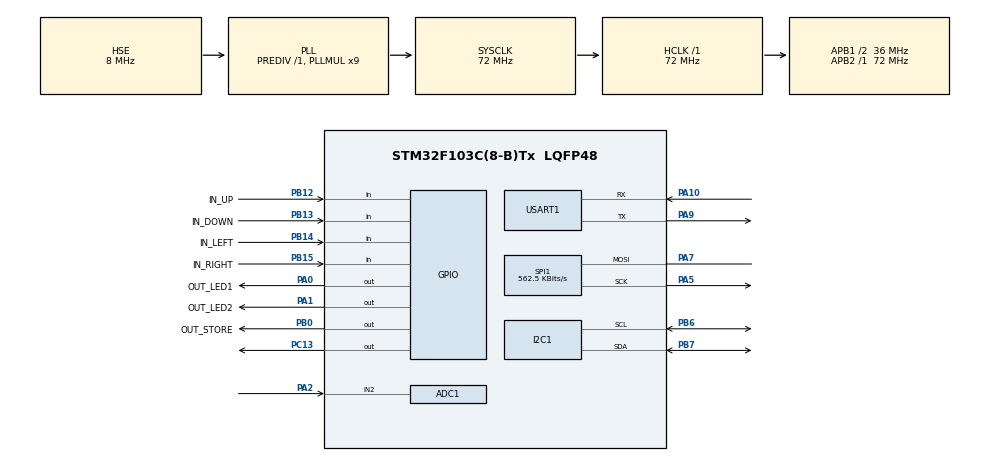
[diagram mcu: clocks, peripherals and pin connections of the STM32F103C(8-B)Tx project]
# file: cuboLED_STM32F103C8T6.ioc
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ADC1.Channel-0\#ChannelRegularConversion=ADC_CHANNEL_2
ADC1.NbrOfConversionFlag=1
ADC1.Rank-0\#ChannelRegularConversion=1
ADC1.SamplingTime-0\#ChannelRegularConversion=ADC_SAMPLETIME_1CYCLE_5
ADC1.master=1
Mcu.Family=STM32F1
Mcu.Name=STM32F103C(8-B)Tx
Mcu.Package=LQFP48
NVIC.PriorityGroup=NVIC_PRIORITYGROUP_4
NVIC.TIM2_IRQn=true\:0\:0\:false\:false\:true\:true\:true
NVIC.TIM3_IRQn=true\:0\:0\:false\:false\:true\:true\:true
NVIC.USART1_IRQn=true\:0\:0\:false\:false\:true\:true\:true
PA0-WKUP.GPIO_Label=OUT_LED1
PA0-WKUP.Signal=GPIO_Output
PA1.GPIO_Label=OUT_LED2
PA1.Signal=GPIO_Output
PA10.Mode=Asynchronous
PA10.Signal=USART1_RX
PA13.Mode=Serial_Wire
PA13.Signal=SYS_JTMS-SWDIO
PA14.Mode=Serial_Wire
PA14.Signal=SYS_JTCK-SWCLK
PA2.Signal=ADCx_IN2
PA5.Mode=Simplex_Bidirectional_Master
PA5.Signal=SPI1_SCK
PA7.Mode=Simplex_Bidirectional_Master
PA7.Signal=SPI1_MOSI
PA9.Mode=Asynchronous
PA9.Signal=USART1_TX
PB0.GPIO_Label=OUT_STORE
PB0.Signal=GPIO_Output
PB12.GPIO_Label=IN_UP
PB12.GPIO_PuPd=GPIO_PULLUP
PB12.Signal=GPIO_Input
PB13.GPIO_Label=IN_DOWN
PB13.GPIO_PuPd=GPIO_PULLUP
PB13.Signal=GPIO_Input
PB14.GPIO_Label=IN_LEFT
PB14.GPIO_PuPd=GPIO_PULLUP
PB14.Signal=GPIO_Input
PB15.GPIO_Label=IN_RIGHT
PB15.GPIO_PuPd=GPIO_PULLUP
PB15.Signal=GPIO_Input
PB6.Mode=I2C
PB6.Signal=I2C1_SCL
PB7.Mode=I2C
PB7.Signal=I2C1_SDA
PC13-TAMPER-RTC.Signal=GPIO_Output
PD0-OSC_IN.Mode=HSE-External-Oscillator
PD0-OSC_IN.Signal=RCC_OSC_IN
PD1-OSC_OUT.Mode=HSE-External-Oscillator
PD1-OSC_OUT.Signal=RCC_OSC_OUT
ProjectManager.HeapSize=0x200
ProjectManager.StackSize=0x400
ProjectManager.TargetToolchain=STM32CubeIDE
RCC.ADCPresc=RCC_ADCPCLK2_DIV6
RCC.AHBFreq_Value=72000000
RCC.APB1CLKDivider=RCC_HCLK_DIV2
RCC.APB1Freq_Value=36000000
RCC.APB1TimFreq_Value=72000000
RCC.APB2Freq_Value=72000000
RCC.APB2TimFreq_Value=72000000
RCC.HCLKFreq_Value=72000000
RCC.PLLMUL=RCC_PLL_MUL9
RCC.PLLSourceVirtual=RCC_PLLSOURCE_HSE
RCC.SYSCLKFreq_VALUE=72000000
RCC.SYSCLKSource=RCC_SYSCLKSOURCE_PLLCLK
RCC.USBFreq_Value=72000000
SH.ADCx_IN2.0=ADC1_IN2,IN2
SPI1.BaudRatePrescaler=SPI_BAUDRATEPRESCALER_128
SPI1.CalculateBaudRate=562.5 KBits/s
SPI1.Direction=SPI_DIRECTION_1LINE
SPI1.Mode=SPI_MODE_MASTER
SPI1.VirtualType=VM_MASTER
TIM2.Period=1000-1
TIM2.Prescaler=225-1
TIM3.Period=1000-1
TIM3.Prescaler=720-1
USART1.VirtualMode=VM_ASYNC
VP_TIM2_VS_ClockSourceINT.Mode=Internal
VP_TIM3_VS_ClockSourceINT.Mode=Internal
board=custom

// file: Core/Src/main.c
/* USER CODE BEGIN Header */
/**
  ******************************************************************************
  * @file           : main.c
  * @brief          : Main program body
  ******************************************************************************
  * @attention
  *
  * <h2><center>&copy; Copyright (c) 2022 STMicroelectronics.
  * All rights reserved.</center></h2>
  *
  * This software component is licensed by ST under BSD 3-Clause license,
  * the "License"; You may not use this file except in compliance with the
  * License. You may obtain a copy of the License at:
  *                        opensource.org/licenses/BSD-3-Clause
  *
  ******************************************************************************
  */
/* USER CODE END Header */
#include "main.h"
#include "adc.h"
#include "i2c.h"
#include "spi.h"
#include "tim.h"
#include "usart.h"
#include "gpio.h"

/* USER CODE BEGIN Includes */
#include "stdlib.h"
#include "74_HC595_SPI_lfs.h"
#include "botones_lfs.h"
#include "menu_cubo.h"
#include "blockOut.h"
/* USER CODE END Includes */

/* USER CODE BEGIN PTD */
typedef enum{
	POS_X = 0,
	NEG_X,
	POS_Z,
	NEG_Z,
	POS_Y,
	NEG_Y,
}T_POS;

typedef enum{
	NULL_EFECT = 0,
	RAIN,
	PLANE_BOING,
	SEND_VOXELS,
	WOOP_WOOP,
	CUBE_JUMP,
	FIREWORKS,
	GLOW,
	BLOCKOUT,
	DEMO,
	TEXT,
	LIT,
	TOTAL_EFFECTS,
}T_EFFECT;

typedef enum{
	NEW_FW,
	RISING_ROCKET,
	EXPLODING,
	FALLING,
}T_FW_STATUS;

typedef struct{
	int8_t partX;
	int8_t partY;
	int8_t partZ;
	int8_t velX;
	int8_t velY;
	int8_t velZ;
	int8_t acelZ;
	uint8_t resting;
} T_FW_PARTICLE;

/* USER CODE END PTD */

/* USER CODE BEGIN PD */
#define XAXIS 0
#define YAXIS 1
#define ZAXIS 2

//#define RAIN_TIME 0x8FFC
//#define PLANE_BOING_TIME 0x8FFC
//#define SEND_VOXELS_TIME 0x8FFC
//#define WOOP_WOOP_TIME 0x8FFC
//#define CUBE_JUMP_TIME 0x7FFF
//#define GLOW_TIME 0x8FFC
//#define TEXT_TIME 0x8FFC
//#define CLOCK_TIME 0x8FFC
//#define FIREWORK_TIME 0x5FFC
#define PERIODO_DEMO 800
#define PERIODO_DEMO_TEXT 1200
/* USER CODE END PD */

/* USER CODE BEGIN PV */

//variables tiempo
uint16_t RAIN_TIME = 0x4FFC;
uint16_t PLANE_BOING_TIME = 0x37FF;
uint16_t SEND_VOXELS_TIME = 0x27FF;
uint16_t WOOP_WOOP_TIME = 0x4FFC;
uint16_t CUBE_JUMP_TIME = 0x370F;
uint16_t FIREWORK_TIME = 0x38EF;
uint16_t GLOW_TIME = 0x0800;
uint16_t TEXT_TIME = 0x4FFC;
uint16_t CLOCK_TIME = 0x8FFC;
uint16_t STEP_TIME = 0X800;

//caracteres
//uint8_t characters[10][8] = {
//  {0x3C, 0x42, 0x42, 0x42, 0x42, 0x42, 0x42, 0x3C}, //0
//  {0x10, 0x18, 0x14, 0x10, 0x10, 0x10, 0x10, 0x3C}, //1
//  {0x3C, 0x42, 0x40, 0x40, 0x3C, 0x02, 0x02, 0x7E}, //2
//  {0x3C, 0x40, 0x40, 0x3C, 0x40, 0x40, 0x42, 0x3C}, //3
//  {0x22, 0x22, 0x22, 0x22, 0x7E, 0x20, 0x20, 0x20}, //4
//  {0x7E, 0x02, 0x02, 0x3E, 0x40, 0x40, 0x42, 0x3C}, //5
//  {0x3C, 0x02, 0x02, 0x3E, 0x42, 0x42, 0x42, 0x3C}, //6
//  {0x3C, 0x40, 0x40, 0x40, 0x40, 0x40, 0x40, 0x40}, //7
//  {0x3C, 0x42, 0x42, 0x3C, 0x42, 0x42, 0x42, 0x3C}, //8
//  {0x3C, 0x42, 0x42, 0x42, 0x3C, 0x40, 0x40, 0x3C}, //9
//};

uint8_t characters[21][8] = {
  {0x3C, 0x42, 0x42, 0x42, 0x42, 0x42, 0x42, 0x3C}, //0
  {0x10, 0x18, 0x14, 0x10, 0x10, 0x10, 0x10, 0x3C}, //1
  {0x3C, 0x42, 0x40, 0x40, 0x3C, 0x02, 0x02, 0x7E}, //2
  {0x3C, 0x40, 0x40, 0x3C, 0x40, 0x40, 0x42, 0x3C}, //3
  {0x22, 0x22, 0x22, 0x22, 0x7E, 0x20, 0x20, 0x20}, //4
  {0x7E, 0x02, 0x02, 0x3E, 0x40, 0x40, 0x42, 0x3C}, //5
  {0x3C, 0x02, 0x02, 0x3E, 0x42, 0x42, 0x42, 0x3C}, //6
  {0x3C, 0x40, 0x40, 0x40, 0x40, 0x40, 0x40, 0x40}, //7
  {0x3C, 0x42, 0x42, 0x3C, 0x42, 0x42, 0x42, 0x3C}, //8
  {0x3C, 0x42, 0x42, 0x42, 0x3C, 0x40, 0x40, 0x3C}, //9
  {0x3C, 0x42, 0x42, 0x42, 0x7E, 0x42, 0x42, 0x42}, //A (pos 10)
  {0x3C, 0x02, 0x02, 0x02, 0x02, 0x02, 0x02, 0x3C}, //C	(pos 11)
  {0x0E, 0x12, 0x22, 0x42, 0x42, 0x22, 0x12, 0x0E}, //D (pos 12)
  {0x3C, 0x04, 0x04, 0x1C, 0x04, 0x04, 0x04, 0x3C}, //E (pos 13)
  {0x7C, 0x02, 0x02, 0x02, 0x72, 0x42, 0x42, 0x7C}, //G (pos 14)
  {0x82, 0xC6, 0xAA, 0x92, 0x82, 0x82, 0x82, 0x82}, //M (pos 15)
  {0x18, 0x42, 0x46, 0x4A, 0x4A, 0x52, 0x52, 0x62}, //ENIE [char N] (pos 16)
  {0x0E, 0x12, 0x22, 0x22, 0x1E, 0x0A, 0x12, 0x22}, //R (pos 17)
  {0x3C, 0x42, 0x02, 0x0C, 0x30, 0x40, 0x42, 0x3C}, //S (pos 18)
  {0x42, 0x42, 0x22, 0x22, 0x24, 0x14, 0x14, 0x08}, //V (pos 19)
  {0x44, 0x66, 0x55, 0x44, 0x44, 0x44, 0x44, 0x44}, //11 (pos 20)
};

//variables cubo
uint8_t cube[8][8];
uint8_t cube_vector[9];
uint8_t cube_level = 0;
T_EFFECT currentEffect = FIREWORKS;

uint8_t flag_nextLevel = 0;

uint16_t timer;

uint64_t randomTimer;
uint16_t randomSeed;

uint8_t loading;

//variables controles
uint8_t flag_tim3; //cada 10 ms.
uint8_t antiRebote = 1;
uint16_t periodo_blockOut = 300; // * 10 ms.

//variables aurt
uint8_t rxChar;
uint8_t flag_uart = 0;

//variables blockOut (externas)
extern char entradaJoystick;
extern uint8_t flag_timeoutCaer;
extern T_ESTATUS_JUEGO estatus_juego;

//variables planeBoing()
uint8_t planePosition = 0;
uint8_t planeDirection = 0;
uint8_t looped = 0;

//variables sendVoxels()
uint8_t selX = 0;
uint8_t selY = 0;
uint8_t selZ = 0;
uint8_t sendDirection = 0;
uint8_t sending = 0;

//variables woopWoop()
uint8_t cubeSize = 0;
uint8_t cubeExpanding = 1;

//variables cubeJump()
uint8_t xPos;
uint8_t yPos;
uint8_t zPos;

//variables glow()
uint8_t glowing;
uint16_t glowCount = 0;

//variables text()
uint8_t charCounter = 0;
uint8_t charPosition = 0;
uint8_t charSelection = 0;

//variables fireWork()
uint8_t exploded;
T_FW_STATUS statusFireWork = NEW_FW;
uint8_t rocketX = 0;
uint8_t rocketY = 0;
uint8_t rocketZ = 0;
uint8_t numParticles;
T_FW_PARTICLE particle[40];
uint8_t deadParticles = 0;
uint8_t explocionCicle = 2;

//variables demo()
uint16_t periodo_demo;
//T_EFFECT index_demo = GLOW;
uint8_t flag_demo = 0;

/* USER CODE END PV */

void SystemClock_Config(void);
/* USER CODE BEGIN PFP */
void renderCube (void);

void clearCube(void);
void drawCube(uint8_t, uint8_t, uint8_t, uint8_t);
void shift(uint8_t);
void setVoxel(uint8_t, uint8_t, uint8_t);
uint8_t getVoxel(uint8_t, uint8_t, uint8_t);
void clearVoxel(uint8_t, uint8_t, uint8_t);
void setPlane(uint8_t, uint8_t);
void rain(void);
void planeBoing(void);
void sendVoxels(void);
void woopWoop(void);
void cubeJump(void);
void fireWork(void);
void glow(void);
void text(char[], uint8_t);
//void demo(void);
void lit(void);
void lightCube(void);
/* USER CODE END PFP */

int main(void)
{

  /* MCU Configuration--------------------------------------------------------*/

  /* Reset of all peripherals, Initializes the Flash interface and the Systick. */
  HAL_Init();

  /* Configure the system clock */
  SystemClock_Config();

  /* Initialize all configured peripherals */
  MX_GPIO_Init();
  MX_I2C1_Init();
  MX_SPI1_Init();
  MX_USART1_UART_Init();
  MX_ADC1_Init();
  MX_TIM2_Init();
  MX_TIM3_Init();
  /* USER CODE BEGIN 2 */
  spi_74HC595_init(&hspi1, OUT_STORE_GPIO_Port, OUT_STORE_Pin);

  loading = 1;
  randomTimer = 0;
//  currentEffect = RAIN;

  HAL_ADC_Start(&hadc1);
  HAL_Delay(100);
  randomSeed = (uint16_t) HAL_ADC_GetValue(&hadc1);
  srand(randomSeed);
  HAL_ADC_Stop(&hadc1);
  HAL_GPIO_WritePin(OUT_LED1_GPIO_Port, OUT_LED1_Pin, 0); //led verde: on
  HAL_GPIO_WritePin(OUT_LED2_GPIO_Port, OUT_LED2_Pin, 1); //led rojo: off
  HAL_GPIO_WritePin(GPIOC, GPIO_PIN_13, 1);

  HAL_TIM_Base_Start_IT(&htim2); // frecuencia de refresco
  HAL_TIM_Base_Start_IT(&htim3); // sincronizmo (10 * ms)

  HAL_UART_Receive_IT(&huart1, &rxChar, 1);

  currentEffect = rand() % TOTAL_EFFECTS;
  switch (currentEffect) {
	  case BLOCKOUT:
		  currentEffect = FIREWORKS;
	  break;
	  case DEMO:
		  currentEffect = CUBE_JUMP;
	  break;
	  case TEXT:
		  currentEffect = PLANE_BOING;
	  break;
	  case LIT:
		  currentEffect = RAIN;
	  break;
	  default:
	  break;
  } //end switch currentEffect

//  start_menu();
  /* USER CODE END 2 */

  /* Infinite loop */
  /* USER CODE BEGIN WHILE */
  while (1)
  {
	  update_teclas();
//	  check_menu();

	  if (flag_tim3 != 0){
		  if (antiRebote != 0){ //para leer cada 20 ms.
			  antiRebote--;
		  }else{
			  lecturaTeclas();

			  antiRebote = 1;
		  } //end if antiRebote

		  if (flag_uart != 0){
			  entradaJoystick = (char)rxChar;
			  flag_uart = 0;
			  HAL_UART_Receive_IT(&huart1, &rxChar, 1);
		  } //end if flag_uart

		  if (periodo_blockOut != 0){
			  periodo_blockOut--;
		  }else{
			  periodo_blockOut = 150;
			  flag_timeoutCaer = 1;
		  } //end if periodo_blockout

		  if (periodo_demo != 0){
			  periodo_demo--;
		  } //end if periodo_demo

		  flag_tim3 = 0;
	  } //end if flag_tim3

	  randomTimer++;

	  if (flag_demo != 0){
		  if (!periodo_demo){

			  clearCube();
			  loading = 1;
			  timer = 0;
			  currentEffect++;
			  if (currentEffect >= TOTAL_EFFECTS) {
				  currentEffect = RAIN;
			  }

			  switch (currentEffect) {
				  case RAIN:
					  periodo_demo = PERIODO_DEMO;
				  break;
				  case PLANE_BOING:
					  periodo_demo = PERIODO_DEMO;
				  break;
				  case SEND_VOXELS:
					  periodo_demo = PERIODO_DEMO;
				  break;
				  case WOOP_WOOP:
					  periodo_demo = PERIODO_DEMO;
				  break;
				  case CUBE_JUMP:
					  periodo_demo = PERIODO_DEMO;
				  break;
				  case FIREWORKS:
					  periodo_demo = PERIODO_DEMO;
				  break;
				  case GLOW:
					  periodo_demo = PERIODO_DEMO;
				  break;
				  case BLOCKOUT:
				  case DEMO:
					  currentEffect = TEXT;
					  periodo_demo = PERIODO_DEMO_TEXT;
				  break;
				  case TEXT:
					  periodo_demo = PERIODO_DEMO_TEXT;
				  break;
				  case LIT:
					  currentEffect = RAIN;
					  periodo_demo = PERIODO_DEMO;
				  break;
				  default:
				  break;
			  } //end switch currentEffect
		  } //end if !periodo_demo
	  } //end if flag_demo

	  if (currentEffect != BLOCKOUT){
		  if (entradaJoystick == '4'){
			  clearCube();
			  currentEffect = BLOCKOUT;
			  entradaJoystick = 0;
			  flag_demo = 0;
		  }
	  }

	  if (getStatBoton(IN_UP) == FALL){ //DOWN
		  clearCube();
		  loading = 1;
		  timer = 0;
		  currentEffect--;
		  if (currentEffect == NULL_EFECT) {
			  currentEffect = TOTAL_EFFECTS - 1;
		  }

		  srand(randomTimer);
		  randomTimer = 0;
		  if (flag_demo != 0){
			  clearCube();
			  currentEffect = BLOCKOUT;
			  entradaJoystick = 0;
			  flag_demo = 0;
		  }

//		  HAL_GPIO_WritePin(OUT_LED1_GPIO_Port, OUT_LED1_Pin, 1); //led verde: off
//		  HAL_GPIO_WritePin(OUT_LED2_GPIO_Port, OUT_LED2_Pin, 0); //led rojo: on
//		  HAL_Delay(500);
//		  HAL_GPIO_WritePin(OUT_LED1_GPIO_Port, OUT_LED1_Pin, 0); //led verde: on
//		  HAL_GPIO_WritePin(OUT_LED2_GPIO_Port, OUT_LED2_Pin, 1); //led rojo: off

		  switch (currentEffect) {
			  case RAIN: break;
			  case PLANE_BOING: break;
			  case SEND_VOXELS: break;
			  case WOOP_WOOP: break;
			  case CUBE_JUMP: break;
			  case FIREWORKS: break;
			  case GLOW: break;
			  case BLOCKOUT:
				  estatus_juego = JUEGO_IDLE;
			  break;
			  case DEMO: break;
			  case TEXT:
				  currentEffect = DEMO;
			  break;
			  case LIT: break;
			  default: break;
		  } //end switch currentEffect

	  } //end if getStatBoton...

	  if (getStatBoton(IN_DOWN) == FALL){ //UP
		  clearCube();
		  loading = 1;
		  timer = 0;
		  currentEffect++;
		  if (currentEffect >= TOTAL_EFFECTS) {
			  currentEffect = RAIN;
		  }
		  srand(randomTimer);
		  randomTimer = 0;
		  if (flag_demo != 0){
			  currentEffect = LIT;
			  flag_demo = 0;
		  }

//		  HAL_GPIO_WritePin(OUT_LED1_GPIO_Port, OUT_LED1_Pin, 1); //led verde: off
//		  HAL_GPIO_WritePin(OUT_LED2_GPIO_Port, OUT_LED2_Pin, 0); //led rojo: on
//		  HAL_Delay(500);
//		  HAL_GPIO_WritePin(OUT_LED1_GPIO_Port, OUT_LED1_Pin, 0); //led verde: on
//		  HAL_GPIO_WritePin(OUT_LED2_GPIO_Port, OUT_LED2_Pin, 1); //led rojo: off

		  switch (currentEffect) {
			  case RAIN: break;
			  case PLANE_BOING: break;
			  case SEND_VOXELS: break;
			  case WOOP_WOOP: break;
			  case CUBE_JUMP: break;
			  case FIREWORKS: break;
			  case GLOW: break;
			  case BLOCKOUT:
				  estatus_juego = JUEGO_IDLE;
			  break;
			  case DEMO: break;
			  case TEXT: break;
			  case LIT: break;
			  default: break;
		  } //end switch currentEffect

	  } //end if getStatBoton...

	  if (getStatBoton(IN_LEFT) == FALL){ //UP
		  switch (currentEffect) {
			  case RAIN:
				  if (RAIN_TIME < (0xFFFE - STEP_TIME)){
					  RAIN_TIME += STEP_TIME;
				  }else{
					  RAIN_TIME = 0xFFFF;
				  }
				  break;
			  case PLANE_BOING:
				  if (PLANE_BOING_TIME < (0xFFFE - STEP_TIME)){
					  PLANE_BOING_TIME += STEP_TIME;
				  }else{
					  PLANE_BOING_TIME = 0xFFFF;
				  }
				  break;
			  case SEND_VOXELS:
				  if (SEND_VOXELS_TIME < (0xFFFE - STEP_TIME)){
					  SEND_VOXELS_TIME += STEP_TIME;
				  }else{
					  SEND_VOXELS_TIME= 0xFFFF;
				  }
				  break;
			  case WOOP_WOOP:
				  if (WOOP_WOOP_TIME < (0xFFFE - STEP_TIME)){
					  WOOP_WOOP_TIME+= STEP_TIME;
				  }else{
					  WOOP_WOOP_TIME= 0xFFFF;
				  }
				  break;
			  case CUBE_JUMP:
				  if (RAIN_TIME < (0xFFFE - STEP_TIME)){
					  CUBE_JUMP_TIME += STEP_TIME;
				  }else{
					  CUBE_JUMP_TIME = 0xFFFF;
				  }
				  break;
			  case FIREWORKS:
				  if (FIREWORK_TIME < (0xFFFE - STEP_TIME)){
					  FIREWORK_TIME += STEP_TIME;
				  }else{
					  FIREWORK_TIME = 0xFFFF;
				  }
				  break;
			  case GLOW:
				  if (GLOW_TIME < (0xFFFE - STEP_TIME)){
					  GLOW_TIME+= STEP_TIME;
				  }else{
					  GLOW_TIME = 0xFFFF;
				  }
				  break;
			  case TEXT:
				  if (TEXT_TIME < (0xFFFE - STEP_TIME)){
					  TEXT_TIME+= STEP_TIME;
				  }else{
					  TEXT_TIME= 0xFFFF;
				  }
				  break;
			  default:
				  break;
		  } //end switch currentEffect
	  }//end if getStatBoton...

	  if (getStatBoton(IN_RIGHT) == FALL){ //UP
		  switch (currentEffect) {
			  case RAIN:
				  if (RAIN_TIME > STEP_TIME + 0X1){
					  RAIN_TIME -= STEP_TIME;
				  }else{
					  RAIN_TIME = STEP_TIME;
				  }
				  break;
			  case PLANE_BOING:
				  if (PLANE_BOING_TIME > STEP_TIME + 0X1){
					  PLANE_BOING_TIME -= STEP_TIME;
				  }else{
					  PLANE_BOING_TIME = STEP_TIME;
				  }
				  break;
			  case SEND_VOXELS:
				  if (SEND_VOXELS_TIME > STEP_TIME + 0X1){
					  SEND_VOXELS_TIME -= STEP_TIME;
				  }else{
					  SEND_VOXELS_TIME= STEP_TIME;
				  }
				  break;
			  case WOOP_WOOP:
				  if (WOOP_WOOP_TIME > STEP_TIME + 0X1){
					  WOOP_WOOP_TIME-= STEP_TIME;
				  }else{
					  WOOP_WOOP_TIME= STEP_TIME;
				  }
				  break;
			  case CUBE_JUMP:
				  if (RAIN_TIME > STEP_TIME + 0X1){
					  CUBE_JUMP_TIME -= STEP_TIME;
				  }else{
					  CUBE_JUMP_TIME = STEP_TIME;
				  }
				  break;
			  case FIREWORKS:
				  if (FIREWORK_TIME > STEP_TIME + 0X1){
					  FIREWORK_TIME -= STEP_TIME;
				  }else{
					  FIREWORK_TIME = STEP_TIME;
				  }
				  break;
			  case GLOW:
				  if (GLOW_TIME > STEP_TIME + 0X1){
					  GLOW_TIME-= STEP_TIME;
				  }else{
					  GLOW_TIME = STEP_TIME;
				  }
				  break;
			  case TEXT:
				  if (TEXT_TIME > STEP_TIME + 0X1){
					  TEXT_TIME-= STEP_TIME;
				  }else{
					  TEXT_TIME= STEP_TIME;
				  }
				  break;
			  default:
				  break;
		  } //end switch currentEffect
	  }//end if getStatBoton...

	  switch (currentEffect) {
		  case RAIN: rain(); break;
		  case PLANE_BOING: planeBoing(); break;
		  case SEND_VOXELS: sendVoxels(); break;
		  case WOOP_WOOP: woopWoop(); break;
		  case CUBE_JUMP: cubeJump(); break;
		  case FIREWORKS: fireWork(); break;
		  case GLOW: glow(); break;
		  case DEMO: //demo();
			  flag_demo = 1;
			  periodo_demo = PERIODO_DEMO_TEXT;
			  currentEffect = TEXT;
		  break;
		  case BLOCKOUT: runBlockOut(); break;
		  case TEXT: text("DEMO", 4); break;
		  case LIT: lit(); break;
		  default:
			  currentEffect = CUBE_JUMP;
			  cubeJump();
		  break;
	  } //end switch currentEffect

//	  drawCube(0, 0, 0, 8);
//	  fireWork();
//	  testBlockOut();
//	  lightCube();
//	  runBlockOut();
//	  demo();

	  if (flag_nextLevel != 0){
		  renderCube();
		  flag_nextLevel = 0;
	  }

    /* USER CODE END WHILE */

  }
}

void SystemClock_Config(void)
{
  RCC_OscInitTypeDef RCC_OscInitStruct = {0};
  RCC_ClkInitTypeDef RCC_ClkInitStruct = {0};
  RCC_PeriphCLKInitTypeDef PeriphClkInit = {0};

  /** Initializes the RCC Oscillators according to the specified parameters
  * in the RCC_OscInitTypeDef structure.
  */
  RCC_OscInitStruct.OscillatorType = RCC_OSCILLATORTYPE_HSE;
  RCC_OscInitStruct.HSEState = RCC_HSE_ON;
  RCC_OscInitStruct.HSEPredivValue = RCC_HSE_PREDIV_DIV1;
  RCC_OscInitStruct.HSIState = RCC_HSI_ON;
  RCC_OscInitStruct.PLL.PLLState = RCC_PLL_ON;
  RCC_OscInitStruct.PLL.PLLSource = RCC_PLLSOURCE_HSE;
  RCC_OscInitStruct.PLL.PLLMUL = RCC_PLL_MUL9;
  if (HAL_RCC_OscConfig(&RCC_OscInitStruct) != HAL_OK)
  {
    Error_Handler();
  }
  /** Initializes the CPU, AHB and APB buses clocks
  */
  RCC_ClkInitStruct.ClockType = RCC_CLOCKTYPE_HCLK|RCC_CLOCKTYPE_SYSCLK
                              |RCC_CLOCKTYPE_PCLK1|RCC_CLOCKTYPE_PCLK2;
  RCC_ClkInitStruct.SYSCLKSource = RCC_SYSCLKSOURCE_PLLCLK;
  RCC_ClkInitStruct.AHBCLKDivider = RCC_SYSCLK_DIV1;
  RCC_ClkInitStruct.APB1CLKDivider = RCC_HCLK_DIV2;
  RCC_ClkInitStruct.APB2CLKDivider = RCC_HCLK_DIV1;

  if (HAL_RCC_ClockConfig(&RCC_ClkInitStruct, FLASH_LATENCY_2) != HAL_OK)
  {
    Error_Handler();
  }
  PeriphClkInit.PeriphClockSelection = RCC_PERIPHCLK_ADC;
  PeriphClkInit.AdcClockSelection = RCC_ADCPCLK2_DIV6;
  if (HAL_RCCEx_PeriphCLKConfig(&PeriphClkInit) != HAL_OK)
  {
    Error_Handler();
  }
}

/* USER CODE BEGIN 4 */

void renderCube (void) {
 /* for (uint8_t i = 0; i < 8; i++) {
    digitalWrite(SS, LOW);
    SPI.transfer(0x01 << i);
    for (uint8_t j = 0; j < 8; j++) {
      SPI.transfer(cube[i][j]);
    }
    digitalWrite(SS, HIGH);
  }*/

	cube_vector[0] = (uint8_t) (0x01 << cube_level);

	for (uint8_t j = 0; j < 8; j++) {
		cube_vector[j+1] = cube[cube_level][j];
	} //end for j

	spi_74HC595_Transmit(cube_vector, sizeof(cube_vector));
	cube_level++;
	if (cube_level == 8){
		cube_level = 0;
	}
	__NOP();

} //end renderCube()

void rain (void) {
  if (loading != 0) {
    clearCube();
    loading = 0;
  }
  timer++;
  if (timer > RAIN_TIME) {
    timer = 0;
    shift(NEG_Y);
    uint8_t numDrops = rand() % 5;
    for (uint8_t i = 0; i < numDrops; i++) {
      setVoxel(rand() % 8, 7, rand() % 8);
    }
  }
} //end rain()

void planeBoing (void) {
  if (loading) {
    clearCube();
    uint8_t axis = rand() % 3;
    planePosition = (rand() % 2) * 7;
    setPlane(axis, planePosition);
    if (axis == XAXIS) {
      if (planePosition == 0) {
        planeDirection = POS_X;
      } else {
        planeDirection = NEG_X;
      }
    } else if (axis == YAXIS) {
      if (planePosition == 0) {
        planeDirection = POS_Y;
      } else {
        planeDirection = NEG_Y;
      }
    } else if (axis == ZAXIS) {
      if (planePosition == 0) {
        planeDirection = POS_Z;
      } else {
        planeDirection = NEG_Z;
      }
    }
    timer = 0;
    looped = 0;
    loading = 0;
  }

  timer++;
  if (timer > PLANE_BOING_TIME) {
    timer = 0;
    shift(planeDirection);
    if (planeDirection % 2 == 0) {
      planePosition++;
      if (planePosition == 7) {
        if (looped != 0) {
          loading = 1;
        } else {
          planeDirection++;
          looped = 1;
        }
      }
    } else {
      planePosition--;
      if (planePosition == 0) {
        if (looped != 0) {
          loading = 1;
        } else {
          planeDirection--;
          looped = 1;
        }
      }
    }
  }
} //end planeBoing()

void sendVoxels() {
  if (loading != 0) {
    clearCube();
    for (uint8_t x = 0; x < 8; x++) {
      for (uint8_t z = 0; z < 8; z++) {
        setVoxel(x, (rand() % 2) * 7, z);
      }
    }
    loading = 0;
  }

  timer++;
  if (timer > SEND_VOXELS_TIME) {
    timer = 0;
    if (!sending) {
      selX = rand() % 8;
      selZ = rand() % 8;
      if (getVoxel(selX, 0, selZ)) {
        selY = 0;
        sendDirection = POS_Y;
      } else if (getVoxel(selX, 7, selZ)) {
        selY = 7;
        sendDirection = NEG_Y;
      }
      sending = 1;
    } else {
      if (sendDirection == POS_Y) {
        selY++;
        setVoxel(selX, selY, selZ);
        clearVoxel(selX, selY - 1, selZ);
        if (selY == 7) {
          sending = 0;
        }
      } else {
        selY--;
        setVoxel(selX, selY, selZ);
        clearVoxel(selX, selY + 1, selZ);
        if (selY == 0) {
          sending = 0;
        }
      }
    }
  }
} //end sendVoxels()

void woopWoop() {
  if (loading) {
    clearCube();
    cubeSize = 2;
    cubeExpanding = 1;
    loading = 0;
  }

  timer++;
  if (timer > WOOP_WOOP_TIME) {
    timer = 0;
    if (cubeExpanding) {
      cubeSize += 2;
      if (cubeSize == 8) {
        cubeExpanding = 0;
      }
    } else {
      cubeSize -= 2;
      if (cubeSize == 2) {
        cubeExpanding = 1;
      }
    }
    clearCube();
    drawCube(4 - cubeSize / 2, 4 - cubeSize / 2, 4 - cubeSize / 2, cubeSize);
  }
} //end woopWoop()

void glow() {
  if (loading) {
    clearCube();
    glowCount = 0;
    glowing = 1;
    loading = 0;
  }

  timer++;
  if (timer > GLOW_TIME) {
    timer = 0;
    if (glowing) {
      if (glowCount < 448) {
        do {
        	selX = rand() % 8;
        	selY = rand() % 8;
        	selZ = rand() % 8;
        } while (getVoxel(selX, selY, selZ));
        setVoxel(selX, selY, selZ);
        glowCount++;
      } else if (glowCount < 512) {
        lightCube();
        glowCount++;
      } else {
        glowing = 0;
        glowCount = 0;
      }
    } else {
      if (glowCount < 448) {
        do {
          selX = rand() % 8;
          selY = rand() % 8;
          selZ = rand() % 8;
        } while (!getVoxel(selX, selY, selZ));
        clearVoxel(selX, selY, selZ);
        glowCount++;
      } else {
        clearCube();
        glowing = 1;
        glowCount = 0;
      }
    }
  }
} //end glow()

void text(char string[], uint8_t len) {
	if (loading) {
		clearCube();
		charPosition = -1;
		charCounter = 0;
		loading = 0;
	}
	timer++;
	if (timer > TEXT_TIME) {
		timer = 0;

		shift(NEG_Z);
		charPosition++;

		if (charPosition == 7) {
			charCounter++;
			if (charCounter > len - 1) {
				charCounter = 0;
			}
			charPosition = 0;
		}

		if (charPosition == 0) {

			//charSelection = string[charCounter] - '0';
			switch(string[charCounter]){
				case 'A':
					for (uint8_t i = 0; i < 8; i++) {
						cube[i][0] = characters[10][i];
					} //end for
				break;
				case 'C':
					for (uint8_t i = 0; i < 8; i++) {
						cube[i][0] = characters[11][i];
					} //end for
				break;
				case 'D':
					for (uint8_t i = 0; i < 8; i++) {
						cube[i][0] = characters[12][i];
					} //end for
				break;
				case 'E':
					for (uint8_t i = 0; i < 8; i++) {
						cube[i][0] = characters[13][i];
					} //end for
				break;
				case 'G':
					for (uint8_t i = 0; i < 8; i++) {
						cube[i][0] = characters[14][i];
					} //end for
				break;
				case 'M':
					for (uint8_t i = 0; i < 8; i++) {
						cube[i][0] = characters[15][i];
					} //end for
				break;
				case 'N': //ENIE
					for (uint8_t i = 0; i < 8; i++) {
						cube[i][0] = characters[16][i];
					} //end for
				break;
				case 'R':
					for (uint8_t i = 0; i < 8; i++) {
						cube[i][0] = characters[17][i];
					} //end for
				break;
				case 'S':
					for (uint8_t i = 0; i < 8; i++) {
						cube[i][0] = characters[18][i];
					} //end for
				break;
				case 'V':
					for (uint8_t i = 0; i < 8; i++) {
						cube[i][0] = characters[19][i];
					} //end for
				break;
				case 'O':
				case '0':
					for (uint8_t i = 0; i < 8; i++) {
						cube[i][0] = characters[0][i];
					} //end for
				break;
				case '1':
				case '2':
				case '3':
				case '4':
				case '5':
				case '6':
				case '7':
				case '8':
				case '9':
					for (uint8_t i = 0; i < 8; i++) {
						cube[i][0] = characters[string[charCounter] - '0'][i];
					} //end for
				default:
				break;
			} //end switch
		} //end if charPosition
	}
} //end text()

void fireWork (void){

	if (loading != 0) {
	    clearCube();
	    loading = 0;
	}

	timer++;
	if (timer > FIREWORK_TIME){

		timer = 0;
		clearCube();

		switch (statusFireWork){
			case NEW_FW:
				rocketX = 2 + (rand() % 4); //between 2 and 5.
				rocketY = 2 + (rand() % 4); //between 2 and 5.
				rocketZ = 0;
				setVoxel(rocketX, rocketZ, rocketY);
				statusFireWork = RISING_ROCKET;
			break;
			case RISING_ROCKET:
				rocketZ++;
				if (rocketZ > 4){
					statusFireWork = EXPLODING;
//					statusFireWork = NEW_FW;
					deadParticles = 0;
					explocionCicle = 0;
					numParticles = (30 + (rand() % 10) ); //num of particles between 30 and 40.
					for(uint8_t i = 0 ; i < numParticles; i++){
						particle[i].partX = rocketX;
						particle[i].partY = rocketY;
						particle[i].partZ = rocketZ;
						particle[i].velX = -2 + (rand() % 5);
						particle[i].velY = -2 + (rand() % 5);
						particle[i].velZ = -1 + (rand() % 3);
						particle[i].resting = 0;
					}
				}
				setVoxel(rocketX, rocketZ, rocketY);
			break;
			case EXPLODING:
				explocionCicle++;
				for(uint8_t i = 0 ; i < numParticles; i++){
					particle[i].partX += particle[i].velX;
					particle[i].partY += particle[i].velY;
					particle[i].partZ += particle[i].velZ;

					if(particle[i].partX < (rocketX - explocionCicle)) particle[i].partX = (rocketX - explocionCicle);
					if(particle[i].partY < (rocketY - explocionCicle)) particle[i].partY = (rocketY - explocionCicle);
					if(particle[i].partZ < (rocketZ - explocionCicle)) particle[i].partZ = (rocketZ - explocionCicle);

					if(particle[i].partX > (rocketX + explocionCicle)) particle[i].partX = (rocketX + explocionCicle);
					if(particle[i].partY > (rocketY + explocionCicle)) particle[i].partY = (rocketY + explocionCicle);
					if(particle[i].partZ > (rocketZ + explocionCicle)) particle[i].partZ = (rocketZ + explocionCicle);

					particle[i].velX = -2 + (rand() % 5);
					particle[i].velY = -2 + (rand() % 5);
					particle[i].velZ = rand() % 2;

					if(particle[i].partZ >= 0){
						if(particle[i].partZ < 8)
							setVoxel(particle[i].partX, particle[i].partZ, particle[i].partY);
					}else{
						deadParticles++;
					}
				}

				if (explocionCicle == 3){
					statusFireWork = FALLING;
				}

			break;
			case FALLING:
				for(uint8_t i = 0 ; i < numParticles; i++){
//					particle[i].velZ--;

//					particle[i].velX--;
//					particle[i].velY--;
//					particle[i].velZ--;

					particle[i].partX += particle[i].velX;
					particle[i].partY += particle[i].velY;
					particle[i].partZ += particle[i].velZ;

					particle[i].velX = 0;
					particle[i].velY = 0;
//					particle[i].velZ = 0;
					if (particle[i].velZ > -1) particle[i].velZ--;

					if(particle[i].partX < 0) particle[i].partX = 0;
					if(particle[i].partY < 0) particle[i].partY = 0;
//					if(particle[i].partZ < 0) particle[i].partZ = 0;
					if(particle[i].partX > 7) particle[i].partX = 7;
					if(particle[i].partY > 7) particle[i].partY = 7;
//					if(particle[i].partZ > 7) particle[i].partZ = 7;

					if(particle[i].partZ >= 0){
						if(particle[i].partZ < 8)
							setVoxel(particle[i].partX, particle[i].partZ, particle[i].partY);
					}else{

						if (particle[i].resting < 6){
							setVoxel(particle[i].partX, 0, particle[i].partY);
							particle[i].resting++;
						}else{
							deadParticles++;
						}
					}

				} //end for i

				if (deadParticles >= numParticles)
					statusFireWork = NEW_FW;
			break;
			default:
			break;
		} //end switch (statusFireWork)
	} //end if (timer > FIREWORK_TIME)
} //end fireWork ()

void lit() {
  if (loading) {
    clearCube();
    for(uint8_t i=0; i<8; i++) {
      for(uint8_t j=0; j<8; j++) {
        cube[i][j] = 0xFF;
      }
    }
    loading = 0;
  }
} //end lit()

void cubeJump() {
  if (loading) {
    clearCube();
    xPos = (rand() % 2) * 7;
    yPos = (rand() % 2) * 7;
    zPos = (rand() % 2) * 7;
    cubeSize = 8;
    cubeExpanding = 0;
    loading = 0;
  }

  timer++;
  if (timer > CUBE_JUMP_TIME) {
    timer = 0;
    clearCube();
    if (xPos == 0 && yPos == 0 && zPos == 0) {
      drawCube(xPos, yPos, zPos, cubeSize);
    } else if (xPos == 7 && yPos == 7 && zPos == 7) {
      drawCube(xPos + 1 - cubeSize, yPos + 1 - cubeSize, zPos + 1 - cubeSize, cubeSize);
    } else if (xPos == 7 && yPos == 0 && zPos == 0) {
      drawCube(xPos + 1 - cubeSize, yPos, zPos, cubeSize);
    } else if (xPos == 0 && yPos == 7 && zPos == 0) {
      drawCube(xPos, yPos + 1 - cubeSize, zPos, cubeSize);
    } else if (xPos == 0 && yPos == 0 && zPos == 7) {
      drawCube(xPos, yPos, zPos + 1 - cubeSize, cubeSize);
    } else if (xPos == 7 && yPos == 7 && zPos == 0) {
      drawCube(xPos + 1 - cubeSize, yPos + 1 - cubeSize, zPos, cubeSize);
    } else if (xPos == 0 && yPos == 7 && zPos == 7) {
      drawCube(xPos, yPos + 1 - cubeSize, zPos + 1 - cubeSize, cubeSize);
    } else if (xPos == 7 && yPos == 0 && zPos == 7) {
      drawCube(xPos + 1 - cubeSize, yPos, zPos + 1 - cubeSize, cubeSize);
    }
    if (cubeExpanding) {
      cubeSize++;
      if (cubeSize == 8) {
        cubeExpanding = 0;
        xPos = (rand() % 2) * 7;
        yPos = (rand() % 2) * 7;
        zPos = (rand() % 2) * 7;
      }
    } else {
      cubeSize--;
      if (cubeSize == 1) {
        cubeExpanding = 1;
      }
    }
  }
} //end cubeJump()

//void demo(void){
//	if (!periodo_demo){
//		switch (index_demo) {
////			case RAIN: index_demo = PLANE_BOING; break;
//			case RAIN: index_demo = SEND_VOXELS; break;
//			case PLANE_BOING: index_demo = SEND_VOXELS; break;
////			case PLANE_BOING: index_demo = WOOP_WOOP; break;
//			case SEND_VOXELS: index_demo = WOOP_WOOP; break;
//			case WOOP_WOOP: index_demo = CUBE_JUMP; break;
//			case CUBE_JUMP: index_demo = FIREWORKS; break;
//			case FIREWORKS: index_demo = GLOW; break;
//			case GLOW: index_demo = TEXT; break;
//			case TEXT: index_demo = RAIN; break;
//			default: index_demo = TEXT;
//		}
//
//		clearCube();
//		loading = 1;
//		timer = 0;
//		srand(randomTimer);
//		randomTimer = 0;
//
//		periodo_demo = 1400;
//	} //end if !periodo_demo
//
//	switch (index_demo) {
//		case RAIN: rain(); break;
//		case PLANE_BOING: planeBoing(); break;
//		case SEND_VOXELS: sendVoxels(); break;
//		case WOOP_WOOP: woopWoop(); break;
//		case CUBE_JUMP: cubeJump(); break;
//		case FIREWORKS: fireWork(); break;
//		case GLOW: glow(); break;
//		case TEXT: text("DEMO", 4); break;
//		default: break;
//	} //end switch index_demo
//
//} //end demo()

void setVoxel(uint8_t x, uint8_t y, uint8_t z) {
  cube[7 - y][7 - z] |= (0x01 << x);
}

void clearVoxel(uint8_t x, uint8_t y, uint8_t z) {
  cube[7 - y][7 - z] ^= (0x01 << x);
}

uint8_t getVoxel(uint8_t x, uint8_t y, uint8_t z) {
  return (cube[7 - y][7 - z] & (0x01 << x)) == (0x01 << x);
}

void setPlane(uint8_t axis, uint8_t i) {
  for (uint8_t j = 0; j < 8; j++) {
    for (uint8_t k = 0; k < 8; k++) {
      if (axis == XAXIS) {
        setVoxel(i, j, k);
      } else if (axis == YAXIS) {
        setVoxel(j, i, k);
      } else if (axis == ZAXIS) {
        setVoxel(j, k, i);
      }
    }
  }
}

void shift(uint8_t dir) {

  switch (dir){
	  case POS_X:
		for (uint8_t y = 0; y < 8; y++) {
			for (uint8_t z = 0; z < 8; z++) {
				cube[y][z] = cube[y][z] << 1;
			}
		}
	  break;
	  case NEG_X:
		for (uint8_t y = 0; y < 8; y++) {
		  for (uint8_t z = 0; z < 8; z++) {
			cube[y][z] = cube[y][z] >> 1;
		  }
		}
	  break;
	  case POS_Y:
		for (uint8_t y = 1; y < 8; y++) {
		  for (uint8_t z = 0; z < 8; z++) {
			cube[y - 1][z] = cube[y][z];
		  }
		}
		for (uint8_t i = 0; i < 8; i++) {
		  cube[7][i] = 0;
		}
	  break;
	  case NEG_Y:
		for (uint8_t y = 7; y > 0; y--) {
		  for (uint8_t z = 0; z < 8; z++) {
			cube[y][z] = cube[y - 1][z];
		  }
		}
		for (uint8_t i = 0; i < 8; i++) {
		  cube[0][i] = 0;
		}
	  break;
	  case POS_Z:
		for (uint8_t y = 0; y < 8; y++) {
		  for (uint8_t z = 1; z < 8; z++) {
			cube[y][z - 1] = cube[y][z];
		  }
		}
		for (uint8_t i = 0; i < 8; i++) {
		  cube[i][7] = 0;
		}
	  break;
	  case NEG_Z:
		for (uint8_t y = 0; y < 8; y++) {
		  for (uint8_t z = 7; z > 0; z--) {
			cube[y][z] = cube[y][z - 1];
		  }
		}
		for (uint8_t i = 0; i < 8; i++) {
		  cube[i][0] = 0;
		}
	  break;
	  default:
	  break;
  } //end switch dir

} //end shift()

void drawCube(uint8_t x, uint8_t y, uint8_t z, uint8_t s) {
  for (uint8_t i = 0; i < s; i++) {
    setVoxel(x, y + i, z);
    setVoxel(x + i, y, z);
    setVoxel(x, y, z + i);
    setVoxel(x + s - 1, y + i, z + s - 1);
    setVoxel(x + i, y + s - 1, z + s - 1);
    setVoxel(x + s - 1, y + s - 1, z + i);
    setVoxel(x + s - 1, y + i, z);
    setVoxel(x, y + i, z + s - 1);
    setVoxel(x + i, y + s - 1, z);
    setVoxel(x + i, y, z + s - 1);
    setVoxel(x + s - 1, y, z + i);
    setVoxel(x, y + s - 1, z + i);
  }
} //end drawCube()

void lightCube() {
  for (uint8_t i = 0; i < 8; i++) {
    for (uint8_t j = 0; j < 8; j++) {
      cube[i][j] = 0xFF;
    }
  }
} //end lightCube()

void clearCube(void) {
  for (uint8_t i = 0; i < 8; i++) {
    for (uint8_t j = 0; j < 8; j++) {
      cube[i][j] = 0;
    }
  }
} //end clearCube()

void HAL_TIM_PeriodElapsedCallback(TIM_HandleTypeDef *htim){
	if(htim->Instance == TIM2){
		flag_nextLevel = 1;
	}
	if(htim->Instance == TIM3){
		flag_tim3 = 1;
	}
}

void HAL_UART_RxCpltCallback(UART_HandleTypeDef *huart){
	flag_uart = 1;
}
/* USER CODE END 4 */

void Error_Handler(void)
{
}

/************************ (C) COPYRIGHT STMicroelectronics *****END OF FILE****/
